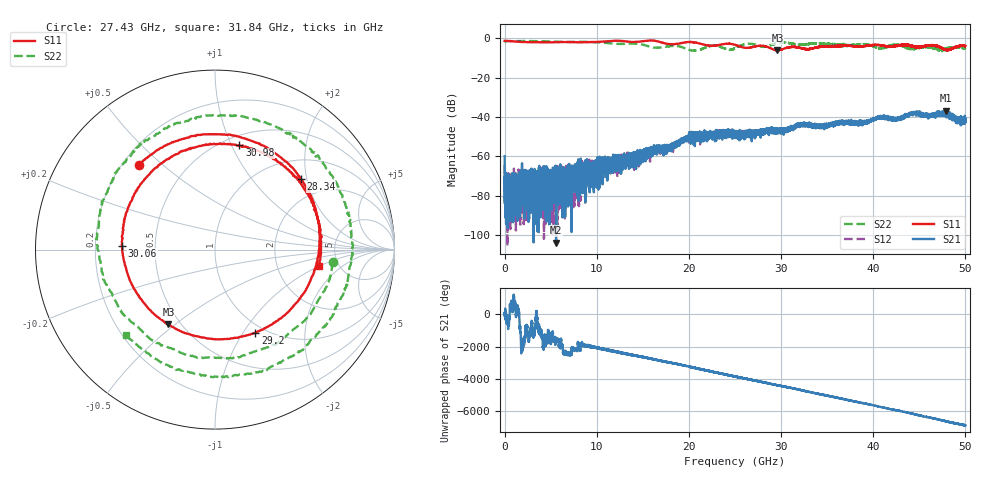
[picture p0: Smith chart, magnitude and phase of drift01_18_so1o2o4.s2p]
!Created with skrf (http://scikit-rf.org).
# Hz S RI R 50.0
!freq ReS11 ImS11 ReS21 ImS21 ReS12 ImS12 ReS22 ImS22
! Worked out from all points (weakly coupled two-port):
!   10001 points, 300 kHz to 50 GHz, reference 50 ohm
!   highest |S21| = -36.76 dB at 47.86 GHz (marker M1); lowest = -103.9 dB at 5.585 GHz (marker M2)
!   lowest |S11| = -6.2 dB at 29.61 GHz (marker M3), VSWR 2.92, Z = 21.6 - j23.6 ohm
!   |S11| at or under -10 dB: nowhere
!   |S22| runs from -6.6 to -1.4 dB; largest |S21 - S12| = 0.0037
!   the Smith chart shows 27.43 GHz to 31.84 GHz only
!   S11 on the Smith chart (normalised r, x): 27.43 GHz: 0.26, +0.42; 28.34 GHz: 1.44, +1.84; 29.2 GHz: 0.90, -1.13; 30.06 GHz: 0.32, +0.02; 30.98 GHz: 0.59, +1.07; 31.84 GHz: 3.52, -1.01
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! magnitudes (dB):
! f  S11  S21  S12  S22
! 300 kHz  -1.3  -60.0  -64.4  -2.1
! 255.3 MHz  -1.4  -82.4  -82.7  -1.4
! 430.3 MHz  -1.4  -73.8  -86.0  -1.4
! 5.585 GHz  -2.0  -103.9  -84.3  -1.7
! 8.335 GHz  -2.0  -67.9  -69.4  -1.8
! 16.67 GHz  -1.6  -56.6  -55.4  -4.8
! 20.32 GHz  -1.9  -49.0  -52.5  -6.2
! 22.6 GHz  -3.8  -48.3  -47.9  -3.8
! 25 GHz  -3.3  -50.4  -48.9  -5.1
! 27.43 GHz  -3.9  -47.0  -48.2  -3.6
! 28.34 GHz  -4.2  -47.3  -46.7  -4.2
! 29.2 GHz  -5.8  -47.6  -46.1  -3.0
! 29.61 GHz  -6.2  -48.6  -46.7  -2.5
! 30.06 GHz  -5.7  -47.2  -47.2  -2.3
! 30.98 GHz  -4.5  -45.0  -46.4  -2.5
! 31.84 GHz  -4.6  -44.6  -44.9  -3.3
! 33.34 GHz  -5.2  -44.6  -44.0  -2.6
! 41.67 GHz  -4.4  -40.3  -40.4  -4.1
! 44.55 GHz  -4.4  -38.1  -38.3  -5.4
! 46.48 GHz  -3.7  -39.2  -38.8  -5.1
! 47.86 GHz  -5.8  -36.8  -38.8  -5.8
! 50 GHz  -3.9  -42.4  -41.3  -5.4
